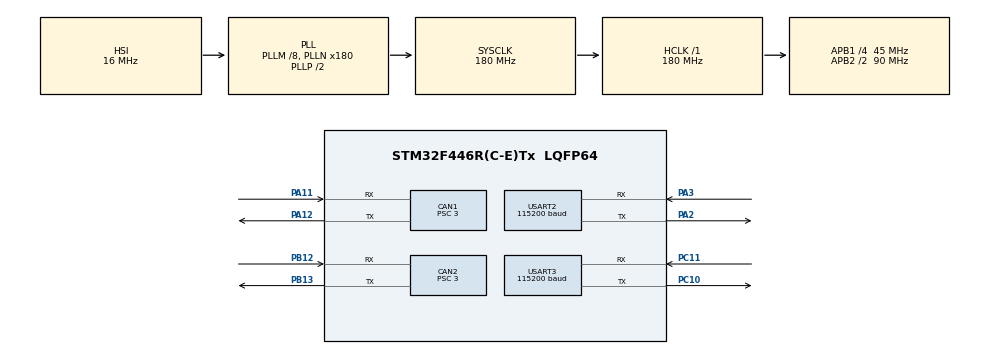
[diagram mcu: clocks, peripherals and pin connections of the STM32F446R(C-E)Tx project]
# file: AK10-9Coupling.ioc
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CAN1.BS1=CAN_BS1_12TQ
CAN1.BS2=CAN_BS2_2TQ
CAN1.CalculateBaudRate=1000000
CAN1.CalculateTimeBit=1000
CAN1.CalculateTimeQuantum=66.66666666666666
CAN1.Prescaler=3
CAN2.BS1=CAN_BS1_12TQ
CAN2.BS2=CAN_BS2_2TQ
CAN2.CalculateBaudRate=1000000
CAN2.CalculateTimeBit=1000
CAN2.CalculateTimeQuantum=66.66666666666666
CAN2.Prescaler=3
Dma.Request0=USART2_RX
Dma.Request1=USART3_RX
Dma.USART2_RX.0.Direction=DMA_PERIPH_TO_MEMORY
Dma.USART2_RX.0.FIFOMode=DMA_FIFOMODE_DISABLE
Dma.USART2_RX.0.Instance=DMA1_Stream5
Dma.USART2_RX.0.MemDataAlignment=DMA_MDATAALIGN_BYTE
Dma.USART2_RX.0.MemInc=DMA_MINC_ENABLE
Dma.USART2_RX.0.Mode=DMA_CIRCULAR
Dma.USART2_RX.0.PeriphDataAlignment=DMA_PDATAALIGN_BYTE
Dma.USART2_RX.0.PeriphInc=DMA_PINC_DISABLE
Dma.USART2_RX.0.Priority=DMA_PRIORITY_LOW
Dma.USART3_RX.1.Direction=DMA_PERIPH_TO_MEMORY
Dma.USART3_RX.1.FIFOMode=DMA_FIFOMODE_DISABLE
Dma.USART3_RX.1.Instance=DMA1_Stream1
Dma.USART3_RX.1.MemDataAlignment=DMA_MDATAALIGN_BYTE
Dma.USART3_RX.1.MemInc=DMA_MINC_ENABLE
Dma.USART3_RX.1.Mode=DMA_CIRCULAR
Dma.USART3_RX.1.PeriphDataAlignment=DMA_PDATAALIGN_BYTE
Dma.USART3_RX.1.PeriphInc=DMA_PINC_DISABLE
Dma.USART3_RX.1.Priority=DMA_PRIORITY_LOW
Mcu.Family=STM32F4
Mcu.Name=STM32F446R(C-E)Tx
Mcu.Package=LQFP64
NVIC.CAN1_RX0_IRQn=true\:0\:0\:false\:false\:true\:true\:true\:true
NVIC.CAN2_RX0_IRQn=true\:0\:0\:false\:false\:true\:true\:true\:true
NVIC.DMA1_Stream1_IRQn=true\:0\:0\:false\:false\:true\:false\:true\:true
NVIC.DMA1_Stream5_IRQn=true\:0\:0\:false\:false\:true\:false\:true\:true
NVIC.PriorityGroup=NVIC_PRIORITYGROUP_4
NVIC.USART3_IRQn=true\:0\:0\:false\:false\:true\:true\:true\:true
PA11.Mode=CAN_Activate
PA11.Signal=CAN1_RX
PA12.Mode=CAN_Activate
PA12.Signal=CAN1_TX
PA2.Mode=Asynchronous
PA2.Signal=USART2_TX
PA3.Mode=Asynchronous
PA3.Signal=USART2_RX
PB12.Mode=CAN_Activate
PB12.Signal=CAN2_RX
PB13.Mode=CAN_Activate
PB13.Signal=CAN2_TX
PC10.Mode=Asynchronous
PC10.Signal=USART3_TX
PC11.Mode=Asynchronous
PC11.Signal=USART3_RX
PH0-OSC_IN.Mode=HSE-External-Oscillator
PH0-OSC_IN.Signal=RCC_OSC_IN
PH1-OSC_OUT.Mode=HSE-External-Oscillator
PH1-OSC_OUT.Signal=RCC_OSC_OUT
ProjectManager.HeapSize=0x200
ProjectManager.StackSize=0x400
ProjectManager.TargetToolchain=STM32CubeIDE
RCC.AHBFreq_Value=180000000
RCC.APB1CLKDivider=RCC_HCLK_DIV4
RCC.APB1Freq_Value=45000000
RCC.APB1TimFreq_Value=90000000
RCC.APB2CLKDivider=RCC_HCLK_DIV2
RCC.APB2Freq_Value=90000000
RCC.APB2TimFreq_Value=180000000
RCC.CortexFreq_Value=180000000
RCC.HCLKFreq_Value=180000000
RCC.PLLM=8
RCC.PLLN=180
RCC.SYSCLKFreq_VALUE=180000000
RCC.SYSCLKSource=RCC_SYSCLKSOURCE_PLLCLK
RCC.USBFreq_Value=180000000
RCC.VCOOutputFreq_Value=360000000
USART2.BaudRate=115200
USART2.VirtualMode=VM_ASYNC
USART3.BaudRate=115200
USART3.VirtualMode=VM_ASYNC
board=custom

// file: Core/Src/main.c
/* USER CODE BEGIN Header */
/**
  ******************************************************************************
  * @file           : main.c
  * @brief          : Main program body
  ******************************************************************************
  * @attention
  *
  * Copyright (c) 2026 STMicroelectronics.
  * All rights reserved.
  *
  * This software is licensed under terms that can be found in the LICENSE file
  * in the root directory of this software component.
  * If no LICENSE file comes with this software, it is provided AS-IS.
  *
  ******************************************************************************
  */
/* USER CODE END Header */
#include "main.h"

/* USER CODE BEGIN Includes */
#include <stdio.h>
#include <math.h>
#include "AK10_9_Driver.h"
/* USER CODE END Includes */

CAN_HandleTypeDef hcan1;
CAN_HandleTypeDef hcan2;

UART_HandleTypeDef huart2;
UART_HandleTypeDef huart3;
DMA_HandleTypeDef hdma_usart2_rx;
DMA_HandleTypeDef hdma_usart3_rx;

void SystemClock_Config(void);
static void MX_GPIO_Init(void);
static void MX_DMA_Init(void);
static void MX_CAN1_Init(void);
static void MX_USART2_UART_Init(void);
static void MX_USART3_UART_Init(void);
static void MX_CAN2_Init(void);

/* USER CODE BEGIN 0 */

// 🌟 儲存馬達回傳的真實角度 (單位: 弧度 Radian)
float motorA_actual_pos = 0.0f;
float motorB_actual_pos = 0.0f;

// 儲存馬達的開機初始位置
float motorA_offset = 0.0f;
int is_motorA_offset_set = 0;
float motorB_offset = 0.0f;
int is_motorB_offset_set = 0;
// 接收大腦板資料的緩衝區 (8 個 bytes)
uint8_t rx_buffer[13];

// 🌟 防抽動升級 1：將初始目標改為「水平伸直」(對應馬達 0 度)
// 這裡是非常關鍵的修改！L1(0.15) + L2(0.20) = 0.35
float target_X = 0.35f;
float target_Y = 0.0f;

// 🌟 防抽動升級 2：新增「平滑座標」緩衝變數
float smooth_X = 0.35f;
float smooth_Y = 0.0f;

// 機構常數 (圖紙上的 15cm 與 20cm)
const float L1 = 0.15f;
const float L2 = 0.20f;

const float g = 9.81f;       // 重力加速度
const float m_B = 0.5f;      // 假設連桿加上末端負載大約 0.5 公斤 (請依實際情況調整！)

float current_Kp = 0.0f; // 開機預設剛性為 0
const float MAX_Kp = 0.2f; // 您最終想要的工作剛性

// 共用體 (維持在全域變數區)
union {
    uint8_t bytes[4];
    float fval;
} data_converter;

// 把 printf 導向 USART2 (也就是通往電腦 COM5 的 USB)
int _write(int file, char *ptr, int len) {
    HAL_UART_Transmit(&huart2, (uint8_t *)ptr, len, 100);
    return len;
}

/* USER CODE END 0 */

int main(void)
{

  /* MCU Configuration--------------------------------------------------------*/

  /* Reset of all peripherals, Initializes the Flash interface and the Systick. */
  HAL_Init();

  /* Configure the system clock */
  SystemClock_Config();

  /* Initialize all configured peripherals */
  MX_GPIO_Init();
  MX_DMA_Init();
  MX_CAN1_Init();
  MX_USART2_UART_Init();
  MX_USART3_UART_Init();
  MX_CAN2_Init();
  /* USER CODE BEGIN 2 */

    //向編譯器宣告這個結構體
    CAN_FilterTypeDef sFilterConfig;
    sFilterConfig.FilterBank = 0;
    sFilterConfig.FilterMode = CAN_FILTERMODE_IDMASK;
    sFilterConfig.FilterScale = CAN_FILTERSCALE_32BIT;
    sFilterConfig.FilterIdHigh = 0x0000;
    sFilterConfig.FilterIdLow = 0x0000;
    sFilterConfig.FilterMaskIdHigh = 0x0000;
    sFilterConfig.FilterMaskIdLow = 0x0000;
    sFilterConfig.FilterFIFOAssignment = CAN_RX_FIFO0;
    sFilterConfig.FilterActivation = ENABLE;
    sFilterConfig.SlaveStartFilterBank = 14; // 非常重要：告訴系統 14 號以後是給 CAN2 用的

    HAL_CAN_ConfigFilter(&hcan1, &sFilterConfig);
    HAL_CAN_Start(&hcan1);
    HAL_CAN_ActivateNotification(&hcan1, CAN_IT_RX_FIFO0_MSG_PENDING);

    // --- 設定 CAN2 過濾器 (給 B 馬達) ---
    sFilterConfig.FilterBank = 14; // CAN2 從 14 號開始
    HAL_CAN_ConfigFilter(&hcan2, &sFilterConfig);
    HAL_CAN_Start(&hcan2);
    HAL_CAN_ActivateNotification(&hcan2, CAN_IT_RX_FIFO0_MSG_PENDING);

    AK10_9_EnableMotor(&hcan1, 0x01);
    HAL_Delay(10);  // 給馬達晶片 10 毫秒的反應時間，避免指令擠在一起
    AK10_9_EnableMotor(&hcan2, 0x01);
    HAL_Delay(10);

    // 給馬達一點時間進入控制模式
    HAL_Delay(100);

  /* USER CODE END 2 */

  /* Infinite loop */
  /* USER CODE BEGIN WHILE */

          // ================= 📝 靜態變數宣告區 =================
          static int is_brain_ready = 0;
          static float current_pitch = 0.0f;
          static float current_Kp = 0.0f;
          static float tau_ff_A = 0.0f;

          #define STATE_IDLE 0
          #define STATE_BENDING_DOWN 1
          #define STATE_RETURNING_UP 2
          #define STATE_HOLDING 3
          static int current_state = STATE_IDLE;

          static float theta_B_zero = 0.0f;
          static int is_ik_init = 0;
          static float smooth_cmd_A = 0.0f;
          static float smooth_cmd_B = 0.0f;
          static int is_cmd_init = 0;

          // 🌟 終極升級：1000 Bytes 圓形循環 DMA 緩衝區 (Immortal DMA)
          #define RX_BUF_SIZE 1000
          static uint8_t rx_buf[RX_BUF_SIZE];
          static uint16_t read_ptr = 0;

          static uint32_t last_rx_tick = 0;
          static uint32_t last_can_tx_tick = 0;
          static int system_init = 0;
          static uint16_t heartbeat = 0;

          while (1)
          {
    /* USER CODE END WHILE */

    /* USER CODE BEGIN 3 */

            // 第一次執行時，啟動不死 DMA
            if (system_init == 0) {
                last_rx_tick = HAL_GetTick();

                // 強制停止之前的任何接收
                HAL_UART_AbortReceive(&huart3);

                // 🔥 強制改為 DMA 圓形循環模式 (Circular)，永不停止！
                if (huart3.hdmarx != NULL) {
                    huart3.hdmarx->Init.Mode = DMA_CIRCULAR;
                    HAL_DMA_Init(huart3.hdmarx);
                }
                // 啟動接收 (這輩子只呼叫這一次！)
                HAL_UART_Receive_DMA(&huart3, rx_buf, RX_BUF_SIZE);

                // 🔪 拔掉 HAL 的管轄權：關閉錯誤中斷，發生 ORE 也不會被強迫 Abort！
                CLEAR_BIT(huart3.Instance->CR3, USART_CR3_EIE);

                system_init = 1;
            }

            // ================= 📡 1. 默默清除硬體錯誤 =================
            if (__HAL_UART_GET_FLAG(&huart3, UART_FLAG_ORE) != RESET) {
                __HAL_UART_CLEAR_OREFLAG(&huart3);
                volatile uint32_t tmpreg = huart3.Instance->DR; (void)tmpreg;
            }
            if (__HAL_UART_GET_FLAG(&huart3, UART_FLAG_NE) != RESET) {
                __HAL_UART_CLEAR_NEFLAG(&huart3);
            }
            if (__HAL_UART_GET_FLAG(&huart3, UART_FLAG_FE) != RESET) {
                __HAL_UART_CLEAR_FEFLAG(&huart3);
            }

            // ================= 🧠 2. 非同步追蹤與解析 =================
            uint16_t write_ptr = 0;
            if (huart3.hdmarx != NULL) {
                write_ptr = RX_BUF_SIZE - __HAL_DMA_GET_COUNTER(huart3.hdmarx);
                if (write_ptr == RX_BUF_SIZE) write_ptr = 0; // 防呆
            }

            // 🌟 環形緩衝區的魔術
            uint16_t bytes_available = 0;
            if (write_ptr >= read_ptr) {
                bytes_available = write_ptr - read_ptr;
            } else {
                bytes_available = RX_BUF_SIZE - read_ptr + write_ptr;
            }

            // 只要湊滿 13 Bytes，就開始滑動解析
            while (bytes_available >= 13) {
                // 使用 % RX_BUF_SIZE 確保跨越陣列尾端時能完美繞回頭部
                if (rx_buf[read_ptr] == 0xAA &&
                    rx_buf[(read_ptr + 1) % RX_BUF_SIZE] == 0x55 &&
                    rx_buf[(read_ptr + 11) % RX_BUF_SIZE] == 0x0D &&
                    rx_buf[(read_ptr + 12) % RX_BUF_SIZE] == 0x0A) {

                    // 成功抓到一包合法特徵碼
                    uint8_t status = rx_buf[(read_ptr + 2) % RX_BUF_SIZE];
                    (void)status; // 👈 加上這行，告訴編譯器「我知道有這個變數，不要煩我」
                    data_converter.bytes[0] = rx_buf[(read_ptr + 3) % RX_BUF_SIZE];
                    data_converter.bytes[1] = rx_buf[(read_ptr + 4) % RX_BUF_SIZE];
                    data_converter.bytes[2] = rx_buf[(read_ptr + 5) % RX_BUF_SIZE];
                    data_converter.bytes[3] = rx_buf[(read_ptr + 6) % RX_BUF_SIZE];
                    float temp_X = data_converter.fval;

                    read_ptr = (read_ptr + 13) % RX_BUF_SIZE;
                    bytes_available -= 13;

                    // 物理合理性防波堤
                    if (!isnan(temp_X) && temp_X > -180.0f && temp_X < 180.0f) {
                        last_rx_tick = HAL_GetTick(); // 🌟 收到健康封包，立刻刷新斷線計時器！

                        // 🔥🔥🔥 終極暴力破解：無視大腦板的 Status=0，直接強制啟動控制！
                        is_brain_ready = 1;

                        float delta_pitch = temp_X - current_pitch;
                        current_pitch = temp_X;

                        float target_Kp = 0.0f;
                        float target_tau = 0.0f;

                        // 狀態機邏輯
                        if (current_pitch < 15.0f && current_pitch > -15.0f) {
                            current_state = STATE_IDLE;
                        } else if (current_pitch > 45.0f && fabs(delta_pitch) < 0.2f) {
                            current_state = STATE_HOLDING;
                        } else if (delta_pitch > 0.1f) {
                            current_state = STATE_BENDING_DOWN;
                        } else if (delta_pitch < -0.1f) {
                            current_state = STATE_RETURNING_UP;
                        } else {
                            if (current_state == STATE_IDLE) {
                                current_state = STATE_BENDING_DOWN;
                            }
                        }

                        // 目標剛性與扭力
                        switch (current_state) {
                            case STATE_IDLE:
                                target_Kp = 15.0f;
                                target_tau = 0.0f;
                                break;
                            case STATE_BENDING_DOWN:
                                target_Kp = 5.0f;
                                target_tau = 0.5f * 9.8f * 0.175f * sinf(current_pitch * 3.14159f / 180.0f) * 0.8f;
                                break;
                            case STATE_HOLDING:
                                target_Kp = 25.0f;
                                target_tau = 0.5f * 9.8f * 0.175f * sinf(current_pitch * 3.14159f / 180.0f);
                            break;
                            case STATE_RETURNING_UP:
                                target_Kp = 15.0f;
                                target_tau = 0.5f * 9.8f * 0.175f * sinf(current_pitch * 3.14159f / 180.0f) + 3.0f;
                                break;
                        }

                        float smooth_factor = 0.5f;
                        current_Kp += (target_Kp - current_Kp) * smooth_factor;
                        tau_ff_A += (target_tau - tau_ff_A) * smooth_factor;

                        // 雙軸 IK 運算
                        float motor_cmd_A;
                        float motor_cmd_B;
                        float L1_len = 0.20f;
                        float L2_len = 0.075f;
                        float base_radius = 0.24f;

                        if (is_ik_init == 0) {
                            float cos_phi_zero = (L1_len*L1_len + L2_len*L2_len - base_radius*base_radius) / (2 * L1_len * L2_len);
                            if(cos_phi_zero > 1.0f) cos_phi_zero = 1.0f;
                            if(cos_phi_zero < -1.0f) cos_phi_zero = -1.0f;
                            theta_B_zero = 3.14159f - acosf(cos_phi_zero);
                            is_ik_init = 1;
                        }

                        if (current_state == STATE_IDLE) {
                            motor_cmd_A = motorA_offset;
                            motor_cmd_B = motorB_offset;
                        } else {
                            motor_cmd_A = -(current_pitch * 3.14159f / 180.0f) + motorA_offset;
                            float elongation = (current_pitch / 90.0f) * 0.03f;
                            if (elongation < 0.0f) elongation = 0.0f;
                            float current_radius = base_radius + elongation;

                            float cos_phi = (L1_len*L1_len + L2_len*L2_len - current_radius*current_radius) / (2 * L1_len * L2_len);
                            if(cos_phi > 1.0f) cos_phi = 1.0f;
                            if(cos_phi < -1.0f) cos_phi = -1.0f;

                            motor_cmd_B = -((3.14159f - acosf(cos_phi)) - theta_B_zero) + motorB_offset;
                        }

                        if (is_cmd_init == 0) {
                            smooth_cmd_A = motorA_offset;
                            smooth_cmd_B = motorB_offset;
                            is_cmd_init = 1;
                        }

                        smooth_cmd_A += (motor_cmd_A - smooth_cmd_A) * 0.80f;
                        smooth_cmd_B += (motor_cmd_B - smooth_cmd_B) * 0.10f;

                        // 🚀 發送指令
                        AK10_9_SendCommand(&hcan1, 0x01, smooth_cmd_A, 0.0f, current_Kp, 1.5f, tau_ff_A);
                        AK10_9_SendCommand(&hcan2, 0x01, smooth_cmd_B, 0.0f, current_Kp * 0.4f, 1.0f, 0.0f);
                    }
                } else {
                    // 找不到標頭，滑動 1 Byte 繼續找
                    read_ptr = (read_ptr + 1) % RX_BUF_SIZE;
                    bytes_available--;
                }
            }

            // ================= 🛡️ 3. 非阻塞式斷線保護 =================
            if (HAL_GetTick() - last_rx_tick > 150) {
                is_brain_ready = 0;
                current_Kp = 0.0f;
                tau_ff_A = 0.0f;

                if (HAL_GetTick() - last_can_tx_tick >= 10) {
                    AK10_9_SendCommand(&hcan1, 0x01, smooth_cmd_A, 0.0f, 0.0f, 0.1f, 0.0f);
                    AK10_9_SendCommand(&hcan2, 0x01, smooth_cmd_B, 0.0f, 0.0f, 0.1f, 0.0f);
                    last_can_tx_tick = HAL_GetTick();
                }
            }

            // ================= 🖨️ 4. 神級偵錯 Printf =================
            static uint32_t last_print_tick = 0;
            if (HAL_GetTick() - last_print_tick >= 100) {
                heartbeat++;
                if (is_brain_ready) {
                    printf("💓[%d] State: %d | Pitch: %.1f | CmdA: %.1f | CmdB: %.1f | Kp: %.2f | RX: %d\r\n",
                           heartbeat, current_state, current_pitch, smooth_cmd_A, smooth_cmd_B, current_Kp, write_ptr);
                } else {
                    if (HAL_GetTick() - last_rx_tick <= 150) {
                        printf("🔗[%d] 通訊正常！暖機中(Status=0) | RX指標: %d\r\n", heartbeat, write_ptr);
                    } else {
                        printf("❌[%d] 實體斷線！150ms沒封包 | RX: %d | Kp: 0.00\r\n", heartbeat, write_ptr);
                    }
                }
                last_print_tick = HAL_GetTick();
            }

          }
  /* USER CODE END 3 */
}

void SystemClock_Config(void)
{
  RCC_OscInitTypeDef RCC_OscInitStruct = {0};
  RCC_ClkInitTypeDef RCC_ClkInitStruct = {0};

  /** Configure the main internal regulator output voltage
  */
  __HAL_RCC_PWR_CLK_ENABLE();
  __HAL_PWR_VOLTAGESCALING_CONFIG(PWR_REGULATOR_VOLTAGE_SCALE1);

  /** Initializes the RCC Oscillators according to the specified parameters
  * in the RCC_OscInitTypeDef structure.
  */
  RCC_OscInitStruct.OscillatorType = RCC_OSCILLATORTYPE_HSI;
  RCC_OscInitStruct.HSIState = RCC_HSI_ON;
  RCC_OscInitStruct.HSICalibrationValue = RCC_HSICALIBRATION_DEFAULT;
  RCC_OscInitStruct.PLL.PLLState = RCC_PLL_ON;
  RCC_OscInitStruct.PLL.PLLSource = RCC_PLLSOURCE_HSI;
  RCC_OscInitStruct.PLL.PLLM = 8;
  RCC_OscInitStruct.PLL.PLLN = 180;
  RCC_OscInitStruct.PLL.PLLP = RCC_PLLP_DIV2;
  RCC_OscInitStruct.PLL.PLLQ = 2;
  RCC_OscInitStruct.PLL.PLLR = 2;
  if (HAL_RCC_OscConfig(&RCC_OscInitStruct) != HAL_OK)
  {
    Error_Handler();
  }

  /** Activate the Over-Drive mode
  */
  if (HAL_PWREx_EnableOverDrive() != HAL_OK)
  {
    Error_Handler();
  }

  /** Initializes the CPU, AHB and APB buses clocks
  */
  RCC_ClkInitStruct.ClockType = RCC_CLOCKTYPE_HCLK|RCC_CLOCKTYPE_SYSCLK
                              |RCC_CLOCKTYPE_PCLK1|RCC_CLOCKTYPE_PCLK2;
  RCC_ClkInitStruct.SYSCLKSource = RCC_SYSCLKSOURCE_PLLCLK;
  RCC_ClkInitStruct.AHBCLKDivider = RCC_SYSCLK_DIV1;
  RCC_ClkInitStruct.APB1CLKDivider = RCC_HCLK_DIV4;
  RCC_ClkInitStruct.APB2CLKDivider = RCC_HCLK_DIV2;

  if (HAL_RCC_ClockConfig(&RCC_ClkInitStruct, FLASH_LATENCY_5) != HAL_OK)
  {
    Error_Handler();
  }
}

static void MX_CAN1_Init(void)
{

  hcan1.Instance = CAN1;
  hcan1.Init.Prescaler = 3;
  hcan1.Init.Mode = CAN_MODE_NORMAL;
  hcan1.Init.SyncJumpWidth = CAN_SJW_1TQ;
  hcan1.Init.TimeSeg1 = CAN_BS1_12TQ;
  hcan1.Init.TimeSeg2 = CAN_BS2_2TQ;
  hcan1.Init.TimeTriggeredMode = DISABLE;
  hcan1.Init.AutoBusOff = DISABLE;
  hcan1.Init.AutoWakeUp = DISABLE;
  hcan1.Init.AutoRetransmission = DISABLE;
  hcan1.Init.ReceiveFifoLocked = DISABLE;
  hcan1.Init.TransmitFifoPriority = DISABLE;
  if (HAL_CAN_Init(&hcan1) != HAL_OK)
  {
    Error_Handler();
  }

}

static void MX_CAN2_Init(void)
{

  hcan2.Instance = CAN2;
  hcan2.Init.Prescaler = 3;
  hcan2.Init.Mode = CAN_MODE_NORMAL;
  hcan2.Init.SyncJumpWidth = CAN_SJW_1TQ;
  hcan2.Init.TimeSeg1 = CAN_BS1_12TQ;
  hcan2.Init.TimeSeg2 = CAN_BS2_2TQ;
  hcan2.Init.TimeTriggeredMode = DISABLE;
  hcan2.Init.AutoBusOff = DISABLE;
  hcan2.Init.AutoWakeUp = DISABLE;
  hcan2.Init.AutoRetransmission = DISABLE;
  hcan2.Init.ReceiveFifoLocked = DISABLE;
  hcan2.Init.TransmitFifoPriority = DISABLE;
  if (HAL_CAN_Init(&hcan2) != HAL_OK)
  {
    Error_Handler();
  }

}

static void MX_USART2_UART_Init(void)
{

  huart2.Instance = USART2;
  huart2.Init.BaudRate = 115200;
  huart2.Init.WordLength = UART_WORDLENGTH_8B;
  huart2.Init.StopBits = UART_STOPBITS_1;
  huart2.Init.Parity = UART_PARITY_NONE;
  huart2.Init.Mode = UART_MODE_TX_RX;
  huart2.Init.HwFlowCtl = UART_HWCONTROL_NONE;
  huart2.Init.OverSampling = UART_OVERSAMPLING_16;
  if (HAL_UART_Init(&huart2) != HAL_OK)
  {
    Error_Handler();
  }

}

static void MX_USART3_UART_Init(void)
{

  huart3.Instance = USART3;
  huart3.Init.BaudRate = 115200;
  huart3.Init.WordLength = UART_WORDLENGTH_8B;
  huart3.Init.StopBits = UART_STOPBITS_1;
  huart3.Init.Parity = UART_PARITY_NONE;
  huart3.Init.Mode = UART_MODE_TX_RX;
  huart3.Init.HwFlowCtl = UART_HWCONTROL_NONE;
  huart3.Init.OverSampling = UART_OVERSAMPLING_16;
  if (HAL_UART_Init(&huart3) != HAL_OK)
  {
    Error_Handler();
  }

}

static void MX_DMA_Init(void)
{

  /* DMA controller clock enable */
  __HAL_RCC_DMA1_CLK_ENABLE();

  /* DMA interrupt init */
  /* DMA1_Stream1_IRQn interrupt configuration */
  HAL_NVIC_SetPriority(DMA1_Stream1_IRQn, 0, 0);
  HAL_NVIC_EnableIRQ(DMA1_Stream1_IRQn);
  /* DMA1_Stream5_IRQn interrupt configuration */
  HAL_NVIC_SetPriority(DMA1_Stream5_IRQn, 0, 0);
  HAL_NVIC_EnableIRQ(DMA1_Stream5_IRQn);

}

static void MX_GPIO_Init(void)
{

  /* GPIO Ports Clock Enable */
  __HAL_RCC_GPIOH_CLK_ENABLE();
  __HAL_RCC_GPIOA_CLK_ENABLE();
  __HAL_RCC_GPIOB_CLK_ENABLE();
  __HAL_RCC_GPIOC_CLK_ENABLE();

}

/* USER CODE BEGIN 4 */
void HAL_CAN_RxFifo0MsgPendingCallback(CAN_HandleTypeDef *hcan)
{
    CAN_RxHeaderTypeDef RxHeader;
    uint8_t RxData[8];

    if (HAL_CAN_GetRxMessage(hcan, CAN_RX_FIFO0, &RxHeader, RxData) == HAL_OK)
    {
        // 提取馬達位置 (Byte 1, Byte 2)
    	// 🌟 請務必將 int16_t 改為 uint16_t ！！！
    	uint16_t pos_int = (RxData[1] << 8) | RxData[2];
    	float position = ((float)pos_int * 25.0f / 65535.0f) - 12.5f;

        // 🌟 自動分流：判斷是 CAN1 還是 CAN2 收到的
        if (hcan->Instance == CAN1) {
            // 來自 A 馬達
            if (is_motorA_offset_set == 0) {
                motorA_offset = position;
                is_motorA_offset_set = 1;
            }
            motorA_actual_pos = position - motorA_offset;

        } else if (hcan->Instance == CAN2) {
            // 來自 B 馬達
            if (is_motorB_offset_set == 0) {
                motorB_offset = position;
                is_motorB_offset_set = 1;
            }
            motorB_actual_pos = position - motorB_offset;
        }
    }
}
/* USER CODE END 4 */

void Error_Handler(void)
{
  __disable_irq();
  while (1)
  {
  }
}
